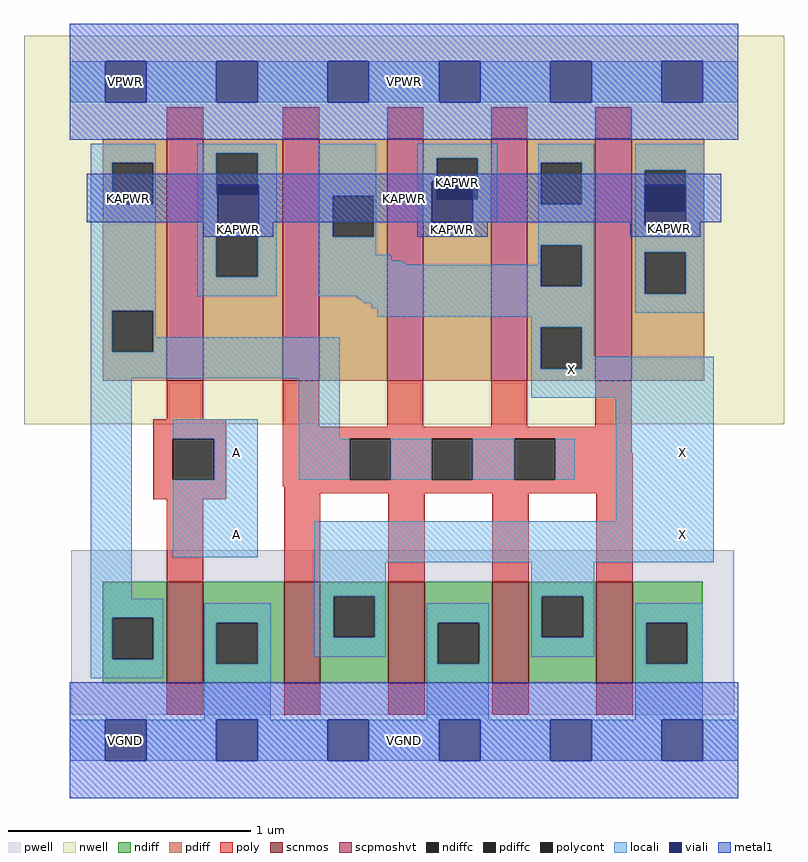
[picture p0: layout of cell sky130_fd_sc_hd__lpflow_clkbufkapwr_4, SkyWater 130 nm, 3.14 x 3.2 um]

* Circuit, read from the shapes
.subckt sky130_fd_sc_hd__lpflow_clkbufkapwr_4 A KAPWR VGND VNB VPB VPWR X
XM1 VGND A n1 VNB sky130_fd_pr__nfet_01v8 w=0.42 l=0.15
XM2 X n1 VGND VNB sky130_fd_pr__nfet_01v8 w=0.42 l=0.15 m=4
XM3 KAPWR A n1 VPB sky130_fd_pr__pfet_01v8_hvt w=1 l=0.15
XM4 X n1 KAPWR VPB sky130_fd_pr__pfet_01v8_hvt w=1 l=0.15 m=4
.ends

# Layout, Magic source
magic
tech sky130B
magscale 1 2
<< nwell >>
rect -38 261 590 582
<< pwell >>
rect 1 21 549 157
rect 29 -17 63 21
<< scnmos >>
rect 80 47 110 131
rect 177 47 207 131
rect 263 47 293 131
rect 349 47 379 131
rect 435 47 465 131
<< scpmoshvt >>
rect 80 297 110 497
rect 176 297 206 497
rect 262 297 292 497
rect 348 297 378 497
rect 434 297 464 497
<< ndiff >>
rect 27 101 80 131
rect 27 67 35 101
rect 69 67 80 101
rect 27 47 80 67
rect 110 97 177 131
rect 110 63 121 97
rect 155 63 177 97
rect 110 47 177 63
rect 207 119 263 131
rect 207 85 218 119
rect 252 85 263 119
rect 207 47 263 85
rect 293 97 349 131
rect 293 63 304 97
rect 338 63 349 97
rect 293 47 349 63
rect 379 119 435 131
rect 379 85 390 119
rect 424 85 435 119
rect 379 47 435 85
rect 465 97 523 131
rect 465 63 476 97
rect 510 63 523 97
rect 465 47 523 63
<< pdiff >>
rect 27 477 80 497
rect 27 443 35 477
rect 69 443 80 477
rect 27 355 80 443
rect 27 321 35 355
rect 69 321 80 355
rect 27 297 80 321
rect 110 485 176 497
rect 110 451 121 485
rect 155 451 176 485
rect 110 417 176 451
rect 110 383 121 417
rect 155 383 176 417
rect 110 297 176 383
rect 206 450 262 497
rect 206 416 217 450
rect 251 416 262 450
rect 206 297 262 416
rect 292 481 348 497
rect 292 447 303 481
rect 337 447 348 481
rect 292 297 348 447
rect 378 477 434 497
rect 378 443 389 477
rect 423 443 434 477
rect 378 409 434 443
rect 378 375 389 409
rect 423 375 434 409
rect 378 341 434 375
rect 378 307 389 341
rect 423 307 434 341
rect 378 297 434 307
rect 464 471 524 497
rect 464 437 475 471
rect 509 437 524 471
rect 464 403 524 437
rect 464 369 475 403
rect 509 369 524 403
rect 464 297 524 369
<< ndiffc >>
rect 35 67 69 101
rect 121 63 155 97
rect 218 85 252 119
rect 304 63 338 97
rect 390 85 424 119
rect 476 63 510 97
<< pdiffc >>
rect 35 443 69 477
rect 35 321 69 355
rect 121 451 155 485
rect 121 383 155 417
rect 217 416 251 450
rect 303 447 337 481
rect 389 443 423 477
rect 389 375 423 409
rect 389 307 423 341
rect 475 437 509 471
rect 475 369 509 403
<< poly >>
rect 80 497 110 523
rect 176 497 206 523
rect 262 497 292 523
rect 348 497 378 523
rect 434 497 464 523
rect 80 265 110 297
rect 69 249 129 265
rect 69 215 85 249
rect 119 215 129 249
rect 69 199 129 215
rect 176 259 206 297
rect 262 259 292 297
rect 348 259 378 297
rect 434 259 464 297
rect 176 249 464 259
rect 176 215 231 249
rect 265 215 299 249
rect 333 215 367 249
rect 401 237 464 249
rect 401 215 465 237
rect 176 210 465 215
rect 177 204 465 210
rect 80 131 110 199
rect 177 131 207 204
rect 263 131 293 204
rect 349 131 379 204
rect 435 131 465 204
rect 80 21 110 47
rect 177 21 207 47
rect 263 21 293 47
rect 349 21 379 47
rect 435 21 465 47
<< polycont >>
rect 85 215 119 249
rect 231 215 265 249
rect 299 215 333 249
rect 367 215 401 249
<< locali >>
rect 0 527 29 561
rect 63 527 121 561
rect 155 527 213 561
rect 247 527 305 561
rect 339 527 397 561
rect 431 527 489 561
rect 523 527 552 561
rect 17 477 71 493
rect 17 443 35 477
rect 69 443 71 477
rect 17 355 71 443
rect 105 485 171 493
rect 105 451 121 485
rect 155 459 171 485
rect 105 425 122 451
rect 156 425 171 459
rect 105 417 171 425
rect 105 383 121 417
rect 155 383 171 417
rect 105 367 171 383
rect 205 450 253 493
rect 205 416 217 450
rect 251 416 253 450
rect 287 481 353 493
rect 287 462 303 481
rect 287 428 299 462
rect 337 447 353 481
rect 333 428 353 447
rect 387 477 433 493
rect 387 443 389 477
rect 423 443 433 477
rect 205 401 253 416
rect 387 409 433 443
rect 205 400 265 401
rect 205 396 266 400
rect 205 395 274 396
rect 205 394 277 395
rect 205 393 278 394
rect 387 393 389 409
rect 205 375 389 393
rect 423 375 433 409
rect 205 367 433 375
rect 237 365 433 367
rect 239 364 433 365
rect 241 363 433 364
rect 243 361 433 363
rect 249 357 433 361
rect 17 321 35 355
rect 69 333 71 355
rect 254 350 433 357
rect 467 471 524 493
rect 467 425 475 471
rect 509 425 524 471
rect 467 403 524 425
rect 467 369 475 403
rect 509 369 524 403
rect 467 353 524 369
rect 381 341 433 350
rect 69 321 223 333
rect 17 299 223 321
rect 17 117 51 299
rect 85 249 155 265
rect 119 215 155 249
rect 189 249 223 299
rect 381 307 389 341
rect 423 317 433 341
rect 423 307 532 317
rect 381 283 532 307
rect 189 215 231 249
rect 265 215 299 249
rect 333 215 367 249
rect 401 215 417 249
rect 85 151 155 215
rect 451 181 532 283
rect 202 147 532 181
rect 202 119 261 147
rect 17 101 77 117
rect 17 67 35 101
rect 69 67 77 101
rect 17 51 77 67
rect 111 97 166 113
rect 111 63 121 97
rect 155 63 166 97
rect 202 85 218 119
rect 252 85 261 119
rect 381 119 433 147
rect 202 69 261 85
rect 295 97 346 113
rect 111 17 166 63
rect 295 63 304 97
rect 338 63 346 97
rect 381 85 390 119
rect 424 85 433 119
rect 381 69 433 85
rect 467 97 523 113
rect 295 17 346 63
rect 467 63 476 97
rect 510 63 523 97
rect 467 17 523 63
rect 0 -17 29 17
rect 63 -17 121 17
rect 155 -17 213 17
rect 247 -17 305 17
rect 339 -17 397 17
rect 431 -17 489 17
rect 523 -17 552 17
<< viali >>
rect 29 527 63 561
rect 121 527 155 561
rect 213 527 247 561
rect 305 527 339 561
rect 397 527 431 561
rect 489 527 523 561
rect 122 451 155 459
rect 155 451 156 459
rect 122 425 156 451
rect 299 447 303 462
rect 303 447 333 462
rect 299 428 333 447
rect 475 437 509 459
rect 475 425 509 437
rect 29 -17 63 17
rect 121 -17 155 17
rect 213 -17 247 17
rect 305 -17 339 17
rect 397 -17 431 17
rect 489 -17 523 17
<< metal1 >>
rect 0 561 552 592
rect 0 527 29 561
rect 63 527 121 561
rect 155 527 213 561
rect 247 527 305 561
rect 339 527 397 561
rect 431 527 489 561
rect 523 527 552 561
rect 0 496 552 527
rect 14 462 538 468
rect 14 459 299 462
rect 14 428 122 459
rect 110 425 122 428
rect 156 428 299 459
rect 333 459 538 462
rect 333 428 475 459
rect 156 425 168 428
rect 110 416 168 425
rect 287 416 345 428
rect 463 425 475 428
rect 509 428 538 459
rect 509 425 521 428
rect 463 416 521 425
rect 0 17 552 48
rect 0 -17 29 17
rect 63 -17 121 17
rect 155 -17 213 17
rect 247 -17 305 17
rect 339 -17 397 17
rect 431 -17 489 17
rect 523 -17 552 17
rect 0 -48 552 -17
<< labels >>
flabel locali s 397 289 431 323 0 FreeSans 200 0 0 0 X
port 7 nsew signal output
flabel locali s 121 153 155 187 0 FreeSans 200 0 0 0 A
port 1 nsew signal input
flabel locali s 489 153 523 187 0 FreeSans 200 0 0 0 X
port 7 nsew signal output
flabel locali s 121 221 155 255 0 FreeSans 200 0 0 0 A
port 1 nsew signal input
flabel locali s 489 221 523 255 0 FreeSans 200 0 0 0 X
port 7 nsew signal output
flabel metal1 s 35 428 62 468 0 FreeSans 200 0 0 0 KAPWR
port 2 nsew power bidirectional abutment
flabel metal1 s 29 -17 63 17 0 FreeSans 200 0 0 0 VGND
port 3 nsew ground bidirectional abutment
flabel metal1 s 29 527 63 561 0 FreeSans 200 0 0 0 VPWR
port 6 nsew power bidirectional abutment
flabel nwell s 29 527 63 561 0 FreeSans 200 0 0 0 VPB
port 5 nsew power bidirectional
flabel pwell s 29 -17 63 17 0 FreeSans 200 0 0 0 VNB
port 4 nsew ground bidirectional
rlabel comment s 0 0 0 0 4 lpflow_clkbufkapwr_4
rlabel locali s 287 428 353 493 1 KAPWR
port 2 nsew power bidirectional abutment
rlabel locali s 467 353 524 493 1 KAPWR
port 2 nsew power bidirectional abutment
rlabel metal1 s 463 416 521 428 1 KAPWR
port 2 nsew power bidirectional abutment
rlabel metal1 s 287 416 345 428 1 KAPWR
port 2 nsew power bidirectional abutment
rlabel metal1 s 110 416 168 428 1 KAPWR
port 2 nsew power bidirectional abutment
rlabel metal1 s 14 428 538 468 1 KAPWR
port 2 nsew power bidirectional abutment
rlabel metal1 s 0 -48 552 48 1 VGND
port 3 nsew ground bidirectional abutment
rlabel metal1 s 0 496 552 592 1 VPWR
port 6 nsew power bidirectional abutment
<< properties >>
string FIXED_BBOX 0 0 552 544
string GDS_END 2240896
string GDS_FILE $PDKPATH/libs.ref/sky130_fd_sc_hd/gds/sky130_fd_sc_hd.gds
string GDS_START 2234974
string LEFclass CORE
string LEFsite unithd
string LEFsymmetry X Y R90
string path 0.000 13.600 13.800 13.600 
<< end >>
